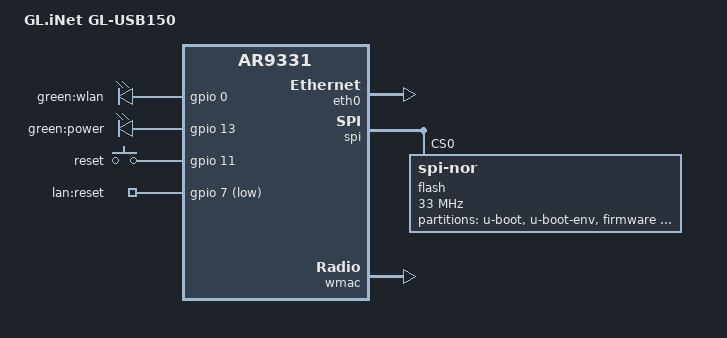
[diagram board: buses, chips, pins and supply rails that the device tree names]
// SPDX-License-Identifier: GPL-2.0-or-later OR MIT

#include "ar9331.dtsi"

#include <dt-bindings/gpio/gpio.h>
#include <dt-bindings/input/input.h>

/ {
	compatible = "glinet,gl-usb150", "qca,ar9331";
	model = "GL.iNet GL-USB150";

	aliases {
		led-boot = &led_power;
		led-failsafe = &led_power;
		led-running = &led_power;
		led-upgrade = &led_power;
		label-mac-device = &eth0;
	};

	leds {
		compatible = "gpio-leds";

		wlan {
			label = "green:wlan";
			gpios = <&gpio 0 GPIO_ACTIVE_HIGH>;
			linux,default-trigger = "phy0tpt";
		};

		led_power: power {
			label = "green:power";
			gpios = <&gpio 13 GPIO_ACTIVE_HIGH>;
			default-state = "on";
		};
	};

	keys {
		compatible = "gpio-keys";

		reset {
			label = "reset";
			linux,code = <KEY_RESTART>;
			gpios = <&gpio 11 GPIO_ACTIVE_HIGH>;
			debounce-interval = <60>;
		};
	};

	gpio-export {
		compatible = "gpio-export";

		gpio_lan_reset {
			gpio-export,name = "lan:reset";
			gpio-export,output = <0>;
			gpios = <&gpio 7 GPIO_ACTIVE_LOW>;
		};
	};
};

&eth0 {
	status = "okay";

	mtd-mac-address = <&art 0x0>;

	gmac-config {
		device = <&gmac>;
		switch-phy-addr-swap = <0>;
		switch-phy-swap = <0>;
	};
};

&eth1 {
	status = "okay";

	compatible = "syscon", "simple-mfd";
};

&spi {
	status = "okay";

	flash@0 {
		compatible = "jedec,spi-nor";
		spi-max-frequency = <33000000>;
		reg = <0>;

		partitions {
			compatible = "fixed-partitions";
			#address-cells = <1>;
			#size-cells = <1>;

			partition@0 {
				label = "u-boot";
				reg = <0x000000 0x040000>;
				read-only;
			};

			partition@40000 {
				label = "u-boot-env";
				reg = <0x040000 0x010000>;
			};

			partition@50000 {
				compatible = "denx,uimage";
				label = "firmware";
				reg = <0x050000 0xfa0000>;
			};

			art: partition@ff0000 {
				label = "art";
				reg = <0xff0000 0x010000>;
				read-only;
			};
		};
	};
};

&wmac {
	status = "okay";

	mtd-cal-data = <&art 0x1000>;
};
